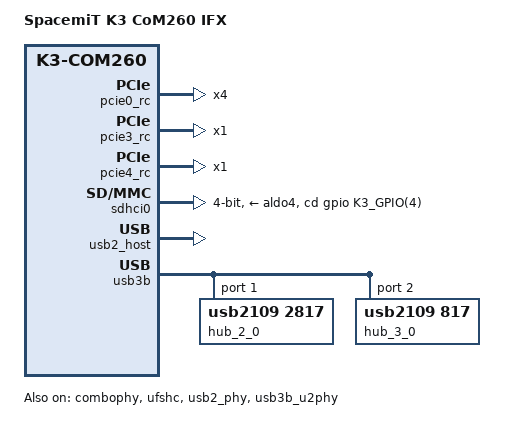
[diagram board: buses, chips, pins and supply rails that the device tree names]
// SPDX-License-Identifier: (GPL-2.0 OR MIT)
/*
 * Copyright (c) 2026 SpacemiT (Hangzhou) Technology Co. Ltd
 * Copyright (c) 2026 Yixun Lan <dlan@kernel.org>
 */

#include "k3-com260.dtsi"

/ {
	model = "SpacemiT K3 CoM260 IFX";
	compatible = "spacemit,k3-com260-ifx", "spacemit,k3-com260", "spacemit,k3";

	aliases {
		serial0 = &uart0;
		ethernet0 = &eth1;
	};

	chosen {
		stdout-path = "serial0:115200n8";
	};
};

&combophy {
	spacemit,apmu = <&syscon_apmu 0x16>;
	status = "okay";
};


&pcie0_rc {
	pinctrl-names = "default";
	pinctrl-0 = <&pcie0_0_cfg>;
	num-lanes = <4>;
	status = "okay";

	pcie@0 {
		vpcie3v3-supply = <&reg_aux_vcc3v3>;
		phys = <&combophy 0 PHY_TYPE_PCIE>,
		       <&combophy 1 PHY_TYPE_PCIE>;
	};
};

&pcie3_rc {
	pinctrl-names = "default";
	pinctrl-0 = <&pcie3_0_cfg>;
	num-lanes = <1>;
	status = "okay";

	pcie@0 {
		vpcie3v3-supply = <&reg_aux_vcc3v3>;
		phys = <&combophy 4 PHY_TYPE_PCIE>;
	};
};

&pcie4_rc {
	pinctrl-names = "default";
	pinctrl-0 = <&pcie4_0_cfg>;
	num-lanes = <1>;
	status = "okay";

	pcie@0 {
		vpcie3v3-supply = <&reg_aux_vcc3v3>;
		phys = <&combophy 5 PHY_TYPE_PCIE>;
	};
};

&sdhci0 {
	pinctrl-names = "default","uhs";
	pinctrl-0 = <&mmc1_cfg>;
	pinctrl-1 = <&mmc1_uhs_cfg>;
	bus-width = <4>;
	cd-gpios = <&gpio K3_GPIO(4) GPIO_ACTIVE_HIGH>;
	no-mmc;
	no-sdio;
	disable-wp;
	cap-sd-highspeed;
	vmmc-supply = <&aldo4>;
	vqmmc-supply = <&aldo1>;
	sd-uhs-sdr25;
	sd-uhs-sdr50;
	sd-uhs-sdr104;
	status = "okay";
};

&ufshc {
	status = "okay";
};

&usb2_host {
	status = "okay";

};

&usb2_phy {
	status = "okay";
};

&usb3b_u2phy {
	status = "okay";
};

&usb3b {
	#address-cells = <1>;
	#size-cells = <0>;
	reset-on-resume;
	/* wakeup-source; */
	status = "okay";

	/* VL817 USB2.0 hub (4 ports) */
	hub_2_0: hub@1 {
		compatible = "usb2109,2817";
		reg = <1>;
		peer-hub = <&hub_3_0>;
	};

	/* VL817 USB3.0 hub (4 ports) */
	hub_3_0: hub@2 {
		compatible = "usb2109,817";
		reg = <2>;
		peer-hub = <&hub_2_0>;
	};
};
